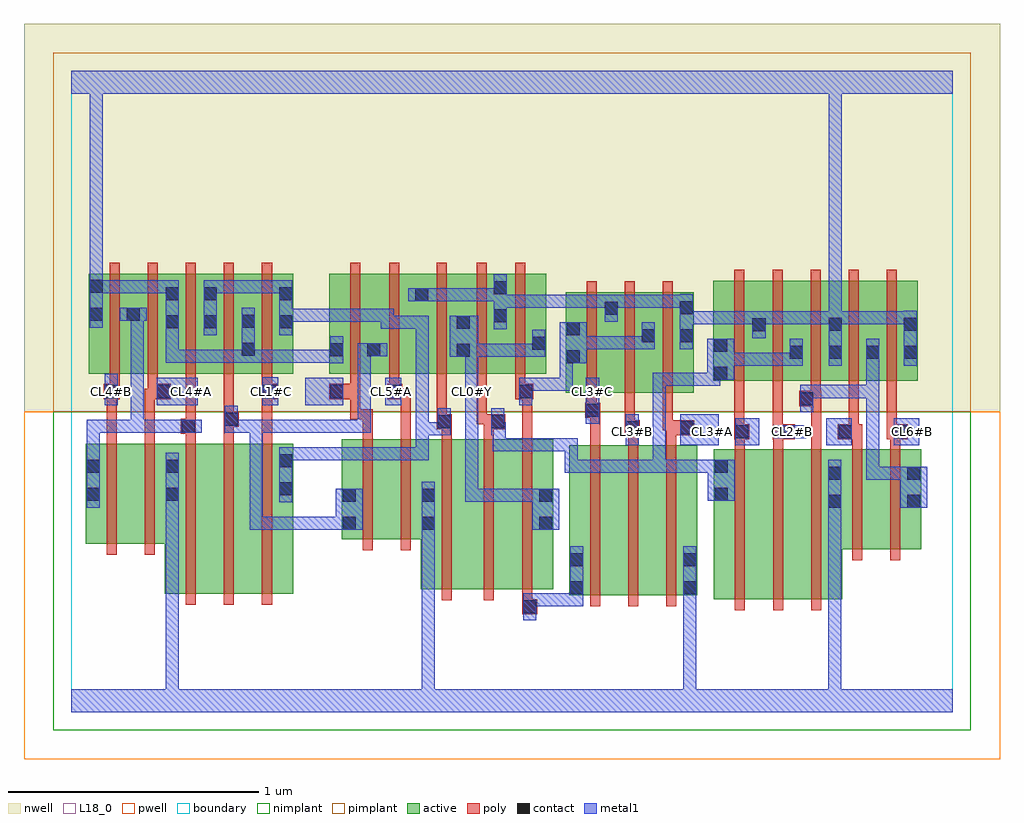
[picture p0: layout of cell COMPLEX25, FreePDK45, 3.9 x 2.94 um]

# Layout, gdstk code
import gdstk
lib = gdstk.Library(unit=1e-6, precision=1e-09)
def R(c, l, rs):  # rectangles x0, y0, x1, y1
    for r in rs: c.add(gdstk.rectangle(r[:2], r[2:], *l))
def A(c, l, x, y, w, h, nx, ny, dx, dy):  # array of equal rectangles
    R(c, l, [(x+i*dx, y+j*dy, x+i*dx+w, y+j*dy+h) for i in range(nx) for j in range(ny)])
active = (1, 0)
pwell = (2, 0)
nwell = (3, 0)
nimplant = (4, 0)
pimplant = (5, 0)
poly = (9, 0)
contact = (10, 0)
metal1 = (11, 0)
L18_0 = (18, 0)
boundary = (235, 0)

complex25 = lib.new_cell('COMPLEX25')
R(complex25, active, [(2.566,0.45,2.746,1.05), (2.746,0.45,2.898,1.05), (2.898,0.45,3.078,1.05), (1.988,0.466,2.168,1.066), (1.988,0.466,2.048,1.066), (2.168,0.466,2.32,1.066), (2.32,0.466,2.5,1.066), (2.44,0.466,2.5,1.066), (0.374,0.472,0.554,1.072), (0.554,0.472,0.706,1.072), (0.706,0.472,0.886,1.072), (1.396,0.49,1.456,1.09), (1.396,0.49,1.592,1.09), (1.592,0.49,1.744,1.09), (1.744,0.49,1.924,1.09), (0.826,0.556,0.886,1.072), (1.864,0.556,1.924,1.09), (2.566,0.556,2.626,1.05), (3.018,0.65,3.214,1.05), (3.214,0.65,3.394,1.05), (0.058,0.672,0.238,1.072), (0.238,0.672,0.434,1.072), (1.08,0.69,1.26,1.09), (1.08,0.69,1.14,1.09), (1.26,0.69,1.456,1.09), (0.058,0.756,0.118,1.072), (0.374,0.756,0.434,1.012), (3.018,0.756,3.078,0.984), (3.334,0.756,3.394,1.05), (1.974,1.276,2.186,1.676), (1.974,1.276,2.034,1.644), (2.126,1.276,2.334,1.676), (2.274,1.276,2.486,1.676), (2.426,1.276,2.486,1.676), (2.564,1.322,2.776,1.722), (2.564,1.322,2.624,1.644), (2.716,1.322,2.924,1.722), (2.864,1.322,3.08,1.722), (3.02,1.322,3.08,1.722), (3.02,1.322,3.23,1.722), (3.17,1.322,3.38,1.722), (3.32,1.322,3.38,1.722), (0.07,1.35,0.13,1.75), (0.07,1.35,0.278,1.75), (0.218,1.35,0.434,1.75), (0.374,1.35,0.434,1.75), (0.374,1.35,0.586,1.75), (0.526,1.35,0.738,1.75), (0.678,1.35,0.886,1.75), (0.826,1.35,0.886,1.75), (1.03,1.35,1.09,1.644), (1.03,1.35,1.238,1.75), (1.178,1.35,1.43,1.75), (1.37,1.35,1.596,1.75), (1.536,1.35,1.744,1.75), (1.684,1.35,1.744,1.75), (1.684,1.35,1.896,1.75), (1.836,1.35,1.896,1.644), (0.526,1.354,0.586,1.75), (2.126,1.372,2.186,1.676), (2.864,1.406,2.924,1.644), (3.17,1.406,3.23,1.644), (1.536,1.414,1.596,1.644), (1.178,1.416,1.238,1.644), (0.678,1.418,0.738,1.644), (1.37,1.464,1.43,1.75), (2.274,1.472,2.334,1.644), (2.716,1.476,2.776,1.722), (0.218,1.558,0.278,1.644)])
R(complex25, pwell, [(-0.188,-0.188,3.708,1.2)])
R(complex25, nwell, [(-0.188,1.2,3.708,2.748)])
R(complex25, nimplant, [(-0.072,-0.072,3.592,1.2)])
R(complex25, pimplant, [(-0.072,1.2,3.592,2.632)])
A(complex25, poly, 2.65, 0.406, 0.04, 0.688, 3, 1, 0.152, 0)
A(complex25, poly, 2.072, 0.422, 0.04, 0.688, 3, 1, 0.152, 0)
A(complex25, poly, 0.458, 0.428, 0.04, 0.688, 3, 1, 0.152, 0)
A(complex25, poly, 2.058, 1.232, 0.04, 0.488, 3, 1, 0.152, 0)
A(complex25, poly, 2.648, 1.278, 0.04, 0.488, 5, 1, 0.152, 0)
A(complex25, poly, 0.154, 1.306, 0.04, 0.488, 5, 1, 0.152, 0)
R(complex25, poly, [(1.8,0.39,1.86,0.45), (1.8,0.41,1.84,0.486), (1.48,0.446,1.52,1.134), (1.648,0.446,1.688,1.134), (1.8,0.446,1.84,1.134), (3.118,0.606,3.158,1.094), (3.27,0.606,3.31,1.094), (0.142,0.628,0.182,1.116), (0.294,0.628,0.334,1.116), (1.164,0.646,1.204,1.134), (1.316,0.646,1.356,1.134), (2.65,1.054,2.69,1.13), (2.802,1.054,2.842,1.13), (2.954,1.054,2.994,1.262), (3.118,1.054,3.158,1.13), (3.27,1.054,3.31,1.13), (2.072,1.07,2.112,1.216), (2.224,1.07,2.264,1.146), (2.376,1.07,2.416,1.146), (0.142,1.076,0.182,1.29), (0.294,1.076,0.334,1.29), (0.458,1.076,0.498,1.152), (0.61,1.076,0.65,1.18), (0.762,1.076,0.802,1.29), (2.648,1.09,2.708,1.15), (2.8,1.09,2.888,1.15), (3.06,1.09,3.158,1.15), (3.256,1.09,3.34,1.15), (3.27,1.09,3.31,1.13), (3.27,1.09,3.31,1.13), (1.164,1.094,1.204,1.21), (1.316,1.094,1.356,1.29), (1.48,1.094,1.52,1.17), (1.648,1.094,1.688,1.17), (1.8,1.094,1.84,1.29), (2.21,1.106,2.27,1.166), (2.224,1.106,2.264,1.146), (2.224,1.106,2.264,1.146), (2.376,1.106,2.488,1.166), (2.648,1.11,2.688,1.318), (2.648,1.11,2.688,1.15), (2.648,1.11,2.688,1.15), (2.8,1.11,2.84,1.318), (2.8,1.11,2.84,1.15), (2.8,1.11,2.84,1.15), (3.104,1.11,3.144,1.318), (3.104,1.11,3.144,1.15), (3.104,1.11,3.144,1.15), (3.256,1.11,3.296,1.318), (0.438,1.112,0.498,1.172), (2.21,1.126,2.25,1.272), (2.362,1.126,2.402,1.272), (2.362,1.126,2.416,1.166), (2.376,1.126,2.416,1.166), (1.46,1.13,1.52,1.19), (1.48,1.13,1.52,1.17), (1.48,1.13,1.52,1.17), (1.648,1.13,1.734,1.19), (0.458,1.132,0.498,1.172), (0.458,1.132,0.498,1.172), (0.458,1.132,0.498,1.346), (0.61,1.14,0.67,1.2), (1.46,1.15,1.5,1.346), (1.62,1.15,1.66,1.346), (1.62,1.15,1.688,1.19), (1.648,1.15,1.688,1.19), (0.61,1.16,0.65,1.2), (0.61,1.16,0.65,1.2), (0.61,1.16,0.65,1.346), (1.114,1.17,1.154,1.29), (1.114,1.17,1.204,1.21), (2.052,1.176,2.112,1.236), (2.072,1.176,2.112,1.216), (2.072,1.176,2.112,1.216), (2.058,1.196,2.098,1.272), (2.906,1.222,2.994,1.282), (2.954,1.222,2.994,1.262), (2.954,1.222,2.994,1.262), (2.952,1.242,2.992,1.318), (0.13,1.25,0.194,1.31), (0.142,1.25,0.182,1.29), (0.142,1.25,0.182,1.29), (0.294,1.25,0.346,1.29), (0.306,1.25,0.346,1.29), (0.306,1.25,0.398,1.31), (0.762,1.25,0.802,1.29), (0.762,1.25,0.802,1.29), (0.762,1.25,0.822,1.31), (1.03,1.25,1.154,1.31), (1.262,1.25,1.322,1.31), (1.282,1.25,1.322,1.29), (1.282,1.25,1.356,1.29), (1.772,1.25,1.844,1.31), (1.8,1.25,1.84,1.29), (1.8,1.25,1.84,1.29), (0.154,1.27,0.194,1.346), (0.306,1.27,0.346,1.346), (0.762,1.27,0.802,1.346), (1.114,1.27,1.154,1.346), (1.27,1.27,1.31,1.346), (1.772,1.27,1.812,1.346), (1.114,1.306,1.154,1.794), (1.27,1.306,1.31,1.794), (1.46,1.306,1.5,1.794), (1.62,1.306,1.66,1.794), (1.772,1.306,1.812,1.794)])
A(complex25, contact, 3.024, 1.41, 0.052, 0.052, 3, 1, 0.15, 0)
R(complex25, contact, [(1.804,0.394,1.856,0.446), (1.992,0.47,2.044,0.522), (2.444,0.47,2.496,0.522), (1.992,0.582,2.044,0.634), (2.444,0.582,2.496,0.634), (1.084,0.728,1.136,0.78), (1.4,0.728,1.452,0.78), (1.868,0.728,1.92,0.78), (3.022,0.816,3.074,0.868), (3.338,0.816,3.39,0.868), (1.084,0.84,1.136,0.892), (1.4,0.84,1.452,0.892), (1.868,0.84,1.92,0.892), (0.062,0.844,0.114,0.896), (0.378,0.844,0.43,0.896), (2.57,0.844,2.622,0.896), (0.83,0.866,0.882,0.918), (3.022,0.928,3.074,0.98), (3.338,0.928,3.39,0.98), (0.062,0.956,0.114,1.008), (0.378,0.956,0.43,1.008), (2.57,0.956,2.622,1.008), (0.83,0.978,0.882,1.03), (2.652,1.094,2.704,1.146), (2.832,1.094,2.884,1.146), (3.064,1.094,3.116,1.146), (3.284,1.094,3.336,1.146), (2.214,1.11,2.266,1.162), (2.432,1.11,2.484,1.162), (0.442,1.116,0.494,1.168), (1.464,1.134,1.516,1.186), (1.678,1.134,1.73,1.186), (0.614,1.144,0.666,1.196), (2.056,1.18,2.108,1.232), (2.91,1.226,2.962,1.278), (0.134,1.254,0.186,1.306), (0.342,1.254,0.394,1.306), (0.766,1.254,0.818,1.306), (1.034,1.254,1.086,1.306), (1.266,1.254,1.318,1.306), (1.788,1.254,1.84,1.306), (2.568,1.326,2.62,1.378), (1.978,1.392,2.03,1.444), (2.868,1.41,2.92,1.462), (1.54,1.418,1.592,1.47), (1.034,1.42,1.086,1.472), (1.182,1.42,1.234,1.472), (0.682,1.422,0.734,1.474), (2.568,1.438,2.62,1.49), (1.84,1.446,1.892,1.498), (2.278,1.476,2.33,1.528), (2.43,1.476,2.482,1.528), (1.978,1.504,2.03,1.556), (2.72,1.52,2.772,1.572), (3.024,1.522,3.076,1.574), (3.324,1.522,3.376,1.574), (1.54,1.53,1.592,1.582), (0.378,1.532,0.43,1.584), (0.53,1.532,0.582,1.584), (0.83,1.532,0.882,1.584), (0.682,1.534,0.734,1.586), (1.688,1.556,1.74,1.608), (0.074,1.562,0.126,1.614), (0.222,1.562,0.274,1.614), (2.13,1.586,2.182,1.638), (2.43,1.588,2.482,1.64), (1.374,1.64,1.426,1.692), (0.378,1.644,0.43,1.696), (0.53,1.644,0.582,1.696), (0.83,1.644,0.882,1.696), (1.688,1.668,1.74,1.72), (0.074,1.674,0.126,1.726)])
A(complex25, metal1, 3.024, 1.548, 0.052, 0.052, 3, 1, 0.15, 0)
R(complex25, metal1, [(0,0,3.52,0.092), (0.378,0.04,0.43,0.868), (1.4,0.04,1.452,0.092), (1.4,0.04,1.452,0.092), (1.4,0.04,1.452,0.752), (2.444,0.04,2.496,0.092), (2.444,0.04,2.496,0.092), (2.444,0.04,2.496,0.494), (3.022,0.04,3.074,0.092), (3.022,0.04,3.074,0.092), (3.022,0.04,3.074,0.84), (1.804,0.366,1.856,0.474), (1.804,0.422,1.856,0.474), (1.804,0.422,1.856,0.474), (1.804,0.422,2.044,0.474), (1.992,0.422,2.044,0.474), (1.992,0.422,2.044,0.494), (1.992,0.442,2.044,0.662), (2.444,0.442,2.496,0.494), (2.444,0.442,2.496,0.494), (2.444,0.442,2.496,0.494), (2.444,0.442,2.496,0.494), (2.444,0.442,2.496,0.494), (2.444,0.442,2.496,0.494), (2.444,0.442,2.496,0.662), (1.4,0.7,1.452,0.752), (1.4,0.7,1.452,0.752), (1.4,0.7,1.452,0.752), (1.4,0.7,1.452,0.752), (1.4,0.7,1.452,0.752), (1.4,0.7,1.452,0.752), (1.4,0.7,1.452,0.92), (0.714,0.728,0.766,0.78), (0.714,0.728,0.876,0.78), (0.714,0.728,0.766,1.168), (0.824,0.728,0.876,0.78), (0.824,0.728,0.876,0.78), (0.824,0.728,0.876,0.78), (0.824,0.728,1.108,0.78), (1.056,0.728,1.164,0.892), (1.84,0.728,1.948,0.892), (3.022,0.788,3.074,0.84), (3.022,0.788,3.074,0.84), (3.022,0.788,3.074,0.84), (3.022,0.788,3.074,0.84), (3.022,0.788,3.074,0.84), (3.022,0.788,3.074,0.84), (3.022,0.788,3.074,1.008), (0.062,0.816,0.114,1.036), (0.378,0.816,0.43,0.868), (0.378,0.816,0.43,0.868), (0.378,0.816,0.43,0.868), (0.378,0.816,0.43,0.868), (0.378,0.816,0.43,0.868), (0.378,0.816,0.43,0.868), (0.378,0.816,0.43,0.868), (0.378,0.816,0.43,0.868), (0.378,0.816,0.43,1.036), (3.31,0.816,3.418,0.98), (0.83,0.838,0.882,1.058), (1.574,0.84,1.626,0.892), (1.574,0.84,1.67,0.892), (1.574,0.84,1.626,1.278), (1.618,0.84,1.67,0.892), (1.618,0.84,1.736,0.892), (1.684,0.84,1.736,0.892), (1.684,0.84,1.892,0.892), (1.84,0.84,1.892,0.892), (1.84,0.84,1.892,0.892), (2.542,0.844,2.65,1.008), (3.174,0.928,3.226,0.98), (3.174,0.928,3.362,0.98), (3.174,0.928,3.226,1.306), (3.31,0.928,3.362,0.98), (3.31,0.928,3.362,0.98), (1.97,0.956,2.22,1.008), (1.97,0.956,2.022,1.094), (2.168,0.956,2.22,1.008), (2.168,0.956,2.372,1.008), (2.32,0.956,2.372,1.008), (2.32,0.956,2.372,1.008), (2.32,0.956,2.372,1.008), (2.32,0.956,2.372,1.008), (2.32,0.956,2.482,1.008), (2.32,0.956,2.374,1.008), (2.322,0.956,2.374,1.354), (2.43,0.956,2.482,1.008), (2.43,0.956,2.484,1.008), (2.432,0.956,2.484,1.008), (2.432,0.956,2.594,1.008), (0.062,0.984,0.114,1.168), (0.83,1.006,0.992,1.058), (0.94,1.006,0.992,1.058), (0.94,1.006,0.992,1.058), (0.94,1.006,0.992,1.058), (0.94,1.006,1.288,1.058), (1.236,1.006,1.288,1.058), (1.236,1.006,1.288,1.058), (1.236,1.006,1.288,1.058), (1.236,1.006,1.428,1.058), (1.376,1.006,1.428,1.058), (1.376,1.006,1.428,1.158), (1.684,1.042,1.892,1.094), (1.684,1.042,1.736,1.158), (1.84,1.042,1.892,1.094), (1.84,1.042,1.892,1.094), (1.84,1.042,1.892,1.094), (1.84,1.042,2.022,1.094), (1.97,1.042,2.022,1.094), (1.97,1.042,2.022,1.094), (2.214,1.066,2.266,1.19), (2.432,1.066,2.586,1.19), (2.652,1.066,2.746,1.174), (3.014,1.066,3.116,1.174), (3.284,1.066,3.386,1.174), (2.804,1.094,2.934,1.146), (1.376,1.106,1.428,1.158), (1.376,1.106,1.428,1.158), (1.376,1.106,1.428,1.158), (1.376,1.106,1.428,1.158), (1.376,1.106,1.428,1.158), (1.376,1.106,1.516,1.158), (1.376,1.106,1.428,1.582), (1.464,1.106,1.516,1.214), (1.678,1.106,1.73,1.214), (1.678,1.106,1.736,1.158), (0.062,1.116,0.114,1.168), (0.062,1.116,0.114,1.168), (0.062,1.116,0.114,1.168), (0.062,1.116,0.29,1.168), (0.238,1.116,0.29,1.168), (0.238,1.116,0.29,1.168), (0.238,1.116,0.29,1.168), (0.238,1.116,0.296,1.168), (0.238,1.116,0.29,1.614), (0.244,1.116,0.296,1.168), (0.244,1.116,0.466,1.168), (0.414,1.116,0.466,1.168), (0.414,1.116,0.466,1.168), (0.414,1.116,0.522,1.168), (0.614,1.116,0.666,1.224), (0.614,1.116,0.766,1.168), (0.714,1.116,0.766,1.168), (0.714,1.116,0.766,1.168), (0.714,1.116,0.766,1.168), (0.714,1.116,0.876,1.168), (0.824,1.116,0.876,1.168), (0.824,1.116,0.876,1.168), (0.824,1.116,0.876,1.168), (0.824,1.116,1.086,1.168), (1.034,1.116,1.086,1.168), (1.034,1.116,1.086,1.168), (1.034,1.116,1.086,1.168), (1.034,1.116,1.196,1.168), (1.144,1.116,1.196,1.168), (1.144,1.116,1.196,1.472), (2.054,1.152,2.108,1.334), (2.91,1.198,2.962,1.306), (0.134,1.226,0.186,1.35), (0.342,1.226,0.506,1.334), (0.764,1.226,0.826,1.336), (0.934,1.226,1.086,1.334), (1.254,1.226,1.318,1.334), (1.574,1.226,1.626,1.334), (1.788,1.226,1.84,1.334), (2.91,1.254,3.116,1.306), (3.064,1.254,3.116,1.306), (3.064,1.254,3.116,1.306), (3.064,1.254,3.116,1.306), (3.064,1.254,3.226,1.306), (3.174,1.254,3.226,1.306), (3.174,1.254,3.226,1.306), (3.174,1.254,3.226,1.306), (3.174,1.254,3.226,1.434), (1.574,1.282,1.626,1.334), (1.574,1.282,1.626,1.334), (1.574,1.282,1.626,1.47), (1.788,1.282,1.912,1.334), (1.86,1.282,1.912,1.334), (1.86,1.282,2.002,1.334), (1.95,1.282,2.002,1.334), (1.95,1.282,2.002,1.444), (2.322,1.302,2.374,1.354), (2.322,1.302,2.482,1.354), (2.43,1.302,2.482,1.354), (2.43,1.302,2.484,1.354), (2.432,1.302,2.484,1.354), (2.432,1.302,2.592,1.354), (2.54,1.302,2.592,1.354), (2.54,1.302,2.592,1.378), (2.54,1.326,2.648,1.49), (2.596,1.382,2.648,1.434), (2.596,1.382,2.648,1.434), (2.596,1.382,2.758,1.434), (2.706,1.382,2.758,1.434), (2.706,1.382,2.758,1.434), (2.706,1.382,2.758,1.434), (2.706,1.382,2.92,1.434), (2.868,1.382,2.92,1.49), (3.024,1.382,3.076,1.602), (3.174,1.382,3.226,1.49), (3.324,1.382,3.376,1.602), (1.034,1.392,1.086,1.5), (1.95,1.392,2.058,1.556), (0.378,1.394,0.43,1.446), (0.378,1.394,0.43,1.446), (0.378,1.394,0.43,1.446), (0.378,1.394,0.584,1.446), (0.378,1.394,0.43,1.556), (0.532,1.394,0.584,1.446), (0.532,1.394,0.584,1.446), (0.532,1.394,0.584,1.446), (0.532,1.394,0.734,1.446), (0.682,1.394,0.734,1.614), (0.682,1.394,0.876,1.446), (0.824,1.394,0.876,1.446), (0.824,1.394,0.876,1.446), (0.824,1.394,0.876,1.446), (0.824,1.394,1.086,1.446), (1.512,1.418,1.626,1.582), (1.574,1.418,1.626,1.47), (1.574,1.418,1.626,1.47), (1.574,1.418,1.736,1.47), (1.684,1.418,1.736,1.47), (1.684,1.418,1.892,1.47), (1.84,1.418,1.892,1.47), (1.84,1.418,1.892,1.47), (1.84,1.418,1.892,1.526), (1.144,1.42,1.196,1.472), (1.144,1.42,1.196,1.472), (1.144,1.42,1.262,1.472), (2.006,1.448,2.058,1.5), (2.006,1.448,2.058,1.5), (2.006,1.448,2.22,1.5), (2.168,1.448,2.22,1.5), (2.168,1.448,2.33,1.5), (2.278,1.448,2.33,1.5), (2.278,1.448,2.33,1.5), (2.278,1.448,2.33,1.556), (2.43,1.448,2.482,1.668), (2.72,1.492,2.772,1.6), (0.378,1.504,0.43,1.724), (0.53,1.504,0.582,1.724), (0.83,1.504,0.882,1.724), (1.688,1.528,1.74,1.748), (1.236,1.53,1.428,1.582), (1.236,1.53,1.288,1.61), (1.376,1.53,1.428,1.582), (0.074,1.534,0.126,1.754), (2.43,1.548,2.594,1.6), (2.542,1.548,2.594,1.6), (2.542,1.548,2.594,1.6), (2.542,1.548,2.594,1.6), (2.542,1.548,2.772,1.6), (2.72,1.548,2.772,1.6), (2.72,1.548,2.772,1.6), (2.72,1.548,2.882,1.6), (2.83,1.548,2.882,1.6), (2.83,1.548,2.882,1.6), (2.83,1.548,2.882,1.6), (2.83,1.548,3.076,1.6), (3.024,1.548,3.076,1.6), (3.024,1.548,3.226,1.6), (3.174,1.548,3.376,1.6), (3.324,1.548,3.376,1.6), (3.024,1.55,3.076,1.602), (3.024,1.55,3.076,1.602), (3.024,1.55,3.076,1.602), (3.024,1.55,3.076,1.602), (3.024,1.55,3.076,2.52), (0.83,1.558,1.086,1.61), (1.034,1.558,1.086,1.61), (1.034,1.558,1.086,1.61), (1.034,1.558,1.086,1.61), (1.034,1.558,1.288,1.61), (1.236,1.558,1.288,1.61), (1.236,1.558,1.288,1.61), (2.13,1.558,2.182,1.666), (0.194,1.562,0.302,1.614), (1.688,1.614,1.892,1.666), (1.84,1.614,1.892,1.666), (1.84,1.614,1.892,1.666), (1.84,1.614,1.892,1.666), (1.84,1.614,2.072,1.666), (2.02,1.614,2.072,1.666), (2.02,1.614,2.072,1.666), (2.02,1.614,2.072,1.666), (2.02,1.614,2.182,1.666), (2.13,1.614,2.372,1.666), (2.32,1.614,2.372,1.666), (2.32,1.614,2.372,1.666), (2.32,1.614,2.372,1.666), (2.32,1.614,2.482,1.666), (2.43,1.614,2.482,1.666), (2.43,1.614,2.482,1.666), (1.346,1.64,1.454,1.692), (1.402,1.64,1.454,1.692), (1.402,1.64,1.454,1.692), (1.402,1.64,1.626,1.692), (1.574,1.64,1.626,1.692), (1.574,1.64,1.626,1.692), (1.574,1.64,1.626,1.692), (1.574,1.64,1.74,1.692), (0.074,1.672,0.126,1.724), (0.074,1.672,0.126,1.724), (0.074,1.672,0.32,1.724), (0.268,1.672,0.32,1.724), (0.268,1.672,0.32,1.724), (0.268,1.672,0.32,1.724), (0.268,1.672,0.43,1.724), (0.53,1.672,0.582,1.724), (0.53,1.672,0.582,1.724), (0.53,1.672,0.766,1.724), (0.714,1.672,0.766,1.724), (0.714,1.672,0.882,1.724), (0.83,1.672,0.882,1.724), (0.83,1.672,0.882,1.724), (0.074,1.702,0.126,1.754), (0.074,1.702,0.126,1.754), (0.074,1.702,0.126,1.754), (0.074,1.702,0.126,1.754), (0.074,1.702,0.126,1.754), (0.074,1.702,0.126,1.754), (0.074,1.702,0.126,1.754), (0.074,1.702,0.126,1.754), (0.074,1.702,0.126,1.754), (0.074,1.702,0.126,1.754), (0.074,1.702,0.126,1.754), (0.074,1.702,0.126,1.754), (0.074,1.702,0.126,2.52), (0,2.468,3.52,2.56), (0.074,2.468,0.126,2.52), (0.074,2.468,0.126,2.52), (0.074,2.468,0.126,2.52), (0.074,2.468,0.126,2.52), (0.074,2.468,0.126,2.52), (0.074,2.468,0.126,2.52), (0.074,2.468,0.126,2.52), (0.074,2.468,0.126,2.52), (3.024,2.468,3.076,2.52), (3.024,2.468,3.076,2.52), (3.024,2.468,3.076,2.52), (3.024,2.468,3.076,2.52), (3.024,2.468,3.076,2.52), (3.024,2.468,3.076,2.52), (3.024,2.468,3.076,2.52), (3.024,2.468,3.076,2.52), (3.024,2.468,3.076,2.52), (3.024,2.468,3.076,2.52), (3.024,2.468,3.076,2.52), (3.024,2.468,3.076,2.52)])
A(complex25, L18_0, 2.534, 1.094, 0.052, 0.052, 4, 1, 0.16, 0)
A(complex25, L18_0, 0.134, 1.254, 0.052, 0.052, 3, 1, 0.32, 0)
A(complex25, L18_0, 0.934, 1.254, 0.052, 0.052, 3, 1, 0.32, 0)
A(complex25, L18_0, 3.024, 1.548, 0.052, 0.052, 3, 1, 0.15, 0)
R(complex25, L18_0, [(0,0,3.52,0.092), (0.378,0.04,0.43,0.868), (1.4,0.04,1.452,0.092), (1.4,0.04,1.452,0.092), (1.4,0.04,1.452,0.752), (2.444,0.04,2.496,0.092), (2.444,0.04,2.496,0.092), (2.444,0.04,2.496,0.494), (3.022,0.04,3.074,0.092), (3.022,0.04,3.074,0.092), (3.022,0.04,3.074,0.84), (2.444,0.442,2.496,0.662), (2.444,0.442,2.496,0.494), (2.444,0.442,2.496,0.494), (2.444,0.442,2.496,0.494), (2.444,0.442,2.496,0.494), (2.444,0.442,2.496,0.494), (2.444,0.442,2.496,0.494), (1.4,0.7,1.452,0.92), (1.4,0.7,1.452,0.752), (1.4,0.7,1.452,0.752), (1.4,0.7,1.452,0.752), (1.4,0.7,1.452,0.752), (1.4,0.7,1.452,0.752), (1.4,0.7,1.452,0.752), (1.84,0.728,1.948,0.892), (3.022,0.788,3.074,1.008), (3.022,0.788,3.074,0.84), (3.022,0.788,3.074,0.84), (3.022,0.788,3.074,0.84), (3.022,0.788,3.074,0.84), (3.022,0.788,3.074,0.84), (3.022,0.788,3.074,0.84), (0.378,0.816,0.43,1.036), (0.378,0.816,0.43,0.868), (0.378,0.816,0.43,0.868), (0.378,0.816,0.43,0.868), (0.378,0.816,0.43,0.868), (0.378,0.816,0.43,0.868), (0.378,0.816,0.43,0.868), (0.378,0.816,0.43,0.868), (0.378,0.816,0.43,0.868), (1.574,0.84,1.626,0.892), (1.574,0.84,1.626,1.278), (1.574,0.84,1.67,0.892), (1.618,0.84,1.67,0.892), (1.618,0.84,1.736,0.892), (1.684,0.84,1.736,0.892), (1.684,0.84,1.892,0.892), (1.84,0.84,1.892,0.892), (1.84,0.84,1.892,0.892), (2.214,1.066,2.266,1.19), (2.432,1.066,2.586,1.19), (2.652,1.066,2.746,1.174), (3.014,1.066,3.116,1.174), (3.284,1.066,3.386,1.174), (2.214,1.094,2.266,1.146), (2.804,1.094,2.934,1.146), (3.334,1.094,3.386,1.146), (2.054,1.152,2.108,1.334), (0.134,1.226,0.186,1.35), (0.342,1.226,0.506,1.334), (0.764,1.226,0.826,1.336), (0.934,1.226,1.086,1.334), (1.254,1.226,1.318,1.334), (1.574,1.226,1.626,1.334), (2.054,1.254,2.106,1.306), (1.574,1.282,1.626,1.334), (1.574,1.282,1.626,1.334), (1.574,1.282,1.626,1.47), (3.024,1.382,3.076,1.602), (3.324,1.382,3.376,1.602), (1.034,1.392,1.086,1.5), (0.378,1.394,0.43,1.446), (0.378,1.394,0.43,1.446), (0.378,1.394,0.43,1.446), (0.378,1.394,0.43,1.556), (0.378,1.394,0.584,1.446), (0.532,1.394,0.584,1.446), (0.532,1.394,0.584,1.446), (0.532,1.394,0.584,1.446), (0.532,1.394,0.734,1.446), (0.682,1.394,0.734,1.614), (0.682,1.394,0.876,1.446), (0.824,1.394,0.876,1.446), (0.824,1.394,0.876,1.446), (0.824,1.394,0.876,1.446), (0.824,1.394,1.086,1.446), (1.512,1.418,1.626,1.582), (1.574,1.418,1.626,1.47), (1.574,1.418,1.626,1.47), (1.574,1.418,1.736,1.47), (1.684,1.418,1.736,1.47), (1.684,1.418,1.892,1.47), (1.84,1.418,1.892,1.47), (1.84,1.418,1.892,1.47), (1.84,1.418,1.892,1.526), (2.43,1.448,2.482,1.668), (2.72,1.492,2.772,1.6), (0.378,1.504,0.43,1.724), (1.688,1.528,1.74,1.748), (0.074,1.534,0.126,1.754), (2.43,1.548,2.594,1.6), (2.542,1.548,2.594,1.6), (2.542,1.548,2.594,1.6), (2.542,1.548,2.594,1.6), (2.542,1.548,2.772,1.6), (2.72,1.548,2.772,1.6), (2.72,1.548,2.772,1.6), (2.72,1.548,2.882,1.6), (2.83,1.548,2.882,1.6), (2.83,1.548,2.882,1.6), (2.83,1.548,2.882,1.6), (2.83,1.548,3.076,1.6), (3.024,1.548,3.076,1.6), (3.024,1.548,3.226,1.6), (3.174,1.548,3.376,1.6), (3.324,1.548,3.376,1.6), (3.024,1.55,3.076,1.602), (3.024,1.55,3.076,1.602), (3.024,1.55,3.076,1.602), (3.024,1.55,3.076,1.602), (3.024,1.55,3.076,2.52), (2.13,1.558,2.182,1.666), (1.688,1.614,1.892,1.666), (1.84,1.614,1.892,1.666), (1.84,1.614,1.892,1.666), (1.84,1.614,1.892,1.666), (1.84,1.614,2.072,1.666), (2.02,1.614,2.072,1.666), (2.02,1.614,2.072,1.666), (2.02,1.614,2.072,1.666), (2.02,1.614,2.182,1.666), (2.13,1.614,2.372,1.666), (2.32,1.614,2.372,1.666), (2.32,1.614,2.372,1.666), (2.32,1.614,2.372,1.666), (2.32,1.614,2.482,1.666), (2.43,1.614,2.482,1.666), (2.43,1.614,2.482,1.666), (1.346,1.64,1.454,1.692), (1.402,1.64,1.454,1.692), (1.402,1.64,1.454,1.692), (1.402,1.64,1.626,1.692), (1.574,1.64,1.626,1.692), (1.574,1.64,1.626,1.692), (1.574,1.64,1.626,1.692), (1.574,1.64,1.74,1.692), (0.074,1.672,0.126,1.724), (0.074,1.672,0.126,1.724), (0.074,1.672,0.32,1.724), (0.268,1.672,0.32,1.724), (0.268,1.672,0.32,1.724), (0.268,1.672,0.32,1.724), (0.268,1.672,0.43,1.724), (0.074,1.702,0.126,1.754), (0.074,1.702,0.126,1.754), (0.074,1.702,0.126,1.754), (0.074,1.702,0.126,1.754), (0.074,1.702,0.126,1.754), (0.074,1.702,0.126,1.754), (0.074,1.702,0.126,1.754), (0.074,1.702,0.126,1.754), (0.074,1.702,0.126,1.754), (0.074,1.702,0.126,1.754), (0.074,1.702,0.126,1.754), (0.074,1.702,0.126,1.754), (0.074,1.702,0.126,2.52), (0,2.468,3.52,2.56), (0.074,2.468,0.126,2.52), (0.074,2.468,0.126,2.52), (0.074,2.468,0.126,2.52), (0.074,2.468,0.126,2.52), (0.074,2.468,0.126,2.52), (0.074,2.468,0.126,2.52), (0.074,2.468,0.126,2.52), (0.074,2.468,0.126,2.52), (3.024,2.468,3.076,2.52), (3.024,2.468,3.076,2.52), (3.024,2.468,3.076,2.52), (3.024,2.468,3.076,2.52), (3.024,2.468,3.076,2.52), (3.024,2.468,3.076,2.52), (3.024,2.468,3.076,2.52), (3.024,2.468,3.076,2.52), (3.024,2.468,3.076,2.52), (3.024,2.468,3.076,2.52), (3.024,2.468,3.076,2.52), (3.024,2.468,3.076,2.52)])
R(complex25, boundary, [(0,0,3.52,2.56)])
complex25.add(gdstk.Label('CL0#Y', (1.6,1.28), layer=11, texttype=0))
complex25.add(gdstk.Label('CL1#C', (0.8,1.28), layer=11, texttype=0))
complex25.add(gdstk.Label('CL2#B', (2.88,1.12), layer=11, texttype=0))
complex25.add(gdstk.Label('CL2#C', (2.72,1.12), layer=11, texttype=0))
complex25.add(gdstk.Label('CL3#A', (2.56,1.12), layer=11, texttype=0))
complex25.add(gdstk.Label('CL3#B', (2.24,1.12), layer=11, texttype=0))
complex25.add(gdstk.Label('CL3#C', (2.08,1.28), layer=11, texttype=0))
complex25.add(gdstk.Label('CL4#A', (0.48,1.28), layer=11, texttype=0))
complex25.add(gdstk.Label('CL4#B', (0.16,1.28), layer=11, texttype=0))
complex25.add(gdstk.Label('CL5#A', (1.28,1.28), layer=11, texttype=0))
complex25.add(gdstk.Label('CL5#B', (0.96,1.28), layer=11, texttype=0))
complex25.add(gdstk.Label('CL6#A', (3.04,1.12), layer=11, texttype=0))
complex25.add(gdstk.Label('CL6#B', (3.36,1.12), layer=11, texttype=0))

lib.write_gds('COMPLEX25.gds')
